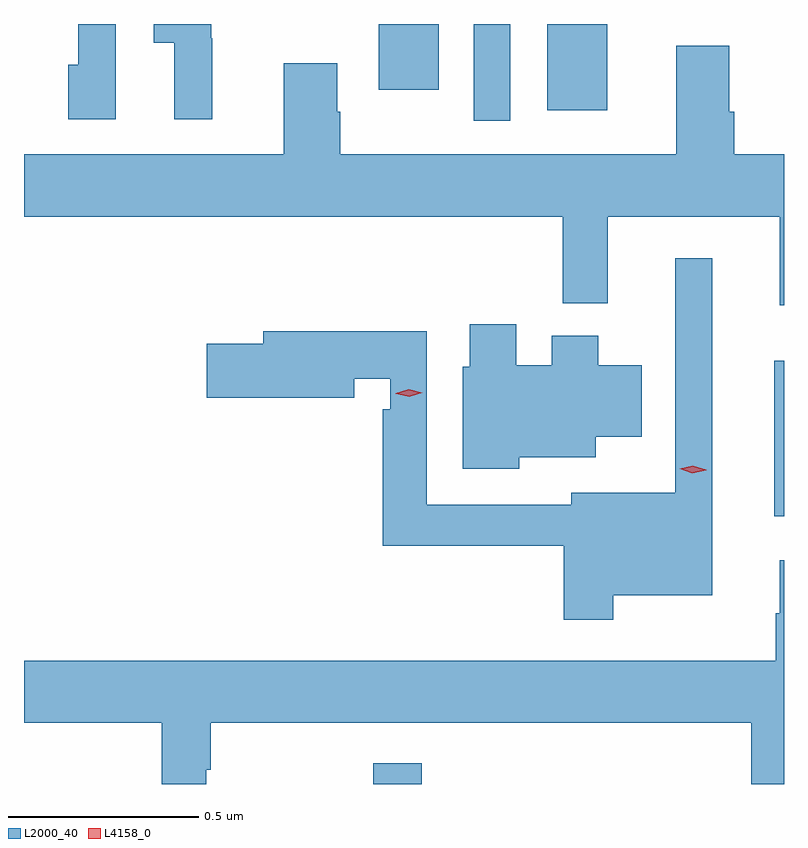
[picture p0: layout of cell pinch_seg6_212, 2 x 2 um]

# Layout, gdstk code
import gdstk
lib = gdstk.Library(unit=1e-6, precision=1e-09)
def R(c, l, rs):  # rectangles x0, y0, x1, y1
    for r in rs: c.add(gdstk.rectangle(r[:2], r[2:], *l))
def P(c, l, *ps):  # polygons
    for p in ps: c.add(gdstk.Polygon(p, *l))
L2000_40 = (2000, 40)
L4158_0 = (4158, 0)

pinch_seg6_212 = lib.new_cell('pinch_seg6_212')
R(pinch_seg6_212, L2000_40, [(1078.194,921.867,1078.322,921.922), (1079.249,922.571,1079.275,922.981), (1078.458,923.613,1078.554,923.867), (1078.652,923.64,1078.81,923.867), (1078.208,923.694,1078.366,923.867)])
P(pinch_seg6_212, L2000_40, [(1077.516,923.867),(1077.418,923.867),(1077.418,923.76),(1077.392,923.76),(1077.392,923.616),(1077.516,923.616)],
  [(1077.77,923.829),(1077.768,923.829),(1077.768,923.867),(1077.617,923.867),(1077.617,923.818),(1077.671,923.818),(1077.671,923.616),(1077.77,923.616)],
  [(1079.275,923.524),(1079.144,923.524),(1079.144,923.636),(1079.131,923.636),(1079.131,923.81),(1078.991,923.81),(1078.991,923.524),(1078.107,923.524),(1078.107,923.636),(1078.099,923.636),(1078.099,923.764),(1077.959,923.764),(1077.959,923.524),(1077.275,923.524),(1077.275,923.36),(1078.693,923.36),(1078.693,923.132),(1078.811,923.132),(1078.811,923.36),(1079.264,923.36),(1079.264,923.127),(1079.275,923.127)],
  [(1078.825,922.364),(1079.086,922.364),(1079.086,923.251),(1078.989,923.251),(1078.989,922.633),(1078.715,922.633),(1078.715,922.602),(1078.335,922.602),(1078.335,923.059),(1077.905,923.059),(1077.905,923.025),(1077.756,923.025),(1077.756,922.883),(1078.144,922.883),(1078.144,922.934),(1078.239,922.934),(1078.239,922.853),(1078.219,922.853),(1078.219,922.494),(1078.696,922.494),(1078.696,922.299),(1078.825,922.299)],
  [(1078.578,922.727),(1078.78,922.727),(1078.78,922.781),(1078.9,922.781),(1078.9,922.969),(1078.786,922.969),(1078.786,923.047),(1078.664,923.047),(1078.664,922.969),(1078.57,922.969),(1078.57,923.077),(1078.448,923.077),(1078.448,922.965),(1078.43,922.965),(1078.43,922.697),(1078.578,922.697)],
  [(1077.754,921.905),(1077.766,921.905),(1077.766,922.028),(1079.189,922.028),(1079.189,921.867),(1079.275,921.867),(1079.275,922.456),(1079.264,922.456),(1079.264,922.316),(1079.253,922.316),(1079.253,922.192),(1077.275,922.192),(1077.275,922.028),(1077.637,922.028),(1077.637,921.867),(1077.754,921.867)])
P(pinch_seg6_212, L4158_0, [(1079.034,922.685),(1079,922.696),(1078.999,922.696),(1079,922.696),(1079.035,922.705),(1079.07,922.694),(1079.07,922.693),(1079.07,922.693)],
  [(1078.289,922.886),(1078.253,922.894),(1078.253,922.894),(1078.253,922.895),(1078.288,922.906),(1078.323,922.897),(1078.323,922.897),(1078.323,922.897)])

lib.write_gds('pinch_seg6_212.gds')
